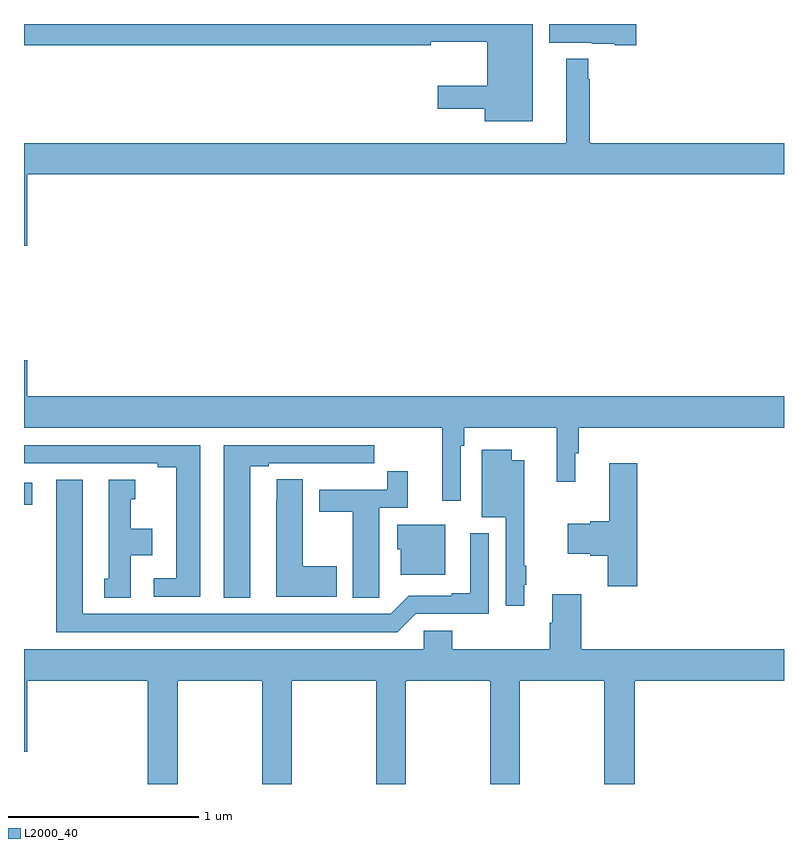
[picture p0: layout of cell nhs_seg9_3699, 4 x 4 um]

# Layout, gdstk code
import gdstk
lib = gdstk.Library(unit=1e-6, precision=1e-09)
def R(c, l, rs):  # rectangles x0, y0, x1, y1
    for r in rs: c.add(gdstk.rectangle(r[:2], r[2:], *l))
def P(c, l, *ps):  # polygons
    for p in ps: c.add(gdstk.Polygon(p, *l))
L2000_40 = (2000, 40)

nhs_seg9_3699 = lib.new_cell('nhs_seg9_3699')
R(nhs_seg9_3699, L2000_40, [(321,1239.97,321.043,1240.086)])
P(nhs_seg9_3699, L2000_40, [(324.223,1242.5),(323.765,1242.5),(323.765,1242.401),(323.988,1242.401),(323.988,1242.395),(324.11,1242.395),(324.11,1242.389),(324.223,1242.389)],
  [(323.677,1242.5),(321,1242.5),(321,1242.388),(323.142,1242.388),(323.142,1242.406),(323.438,1242.406),(323.438,1242.175),(323.178,1242.175),(323.178,1242.053),(323.426,1242.053),(323.426,1241.987),(323.677,1241.987)],
  [(321.016,1241.708),(325,1241.708),(325,1241.872),(323.977,1241.872),(323.977,1242.209),(323.969,1242.209),(323.969,1242.316),(323.855,1242.316),(323.855,1241.872),(321,1241.872),(321,1241.334),(321.016,1241.334)],
  [(323.298,1240.28),(323.318,1240.28),(323.318,1240.376),(323.803,1240.376),(323.803,1240.092),(323.902,1240.092),(323.902,1240.242),(323.921,1240.242),(323.921,1240.376),(325,1240.376),(325,1240.54),(321.016,1240.54),(321.016,1240.729),(321,1240.729),(321,1240.376),(323.201,1240.376),(323.201,1239.99),(323.298,1239.99)],
  [(321.928,1240.284),(321,1240.284),(321,1240.188),(321.704,1240.188),(321.704,1240.168),(321.8,1240.168),(321.8,1239.582),(321.684,1239.582),(321.684,1239.486),(321.928,1239.486)],
  [(322.192,1240.173),(322.288,1240.173),(322.288,1240.188),(322.564,1240.188),(322.564,1240.187),(322.73,1240.187),(322.73,1240.188),(322.843,1240.188),(322.843,1240.284),(322.052,1240.284),(322.052,1239.481),(322.192,1239.481)],
  [(323.632,1239.55),(323.644,1239.55),(323.644,1239.65),(323.634,1239.65),(323.634,1239.909),(323.632,1239.909),(323.632,1240.204),(323.566,1240.204),(323.566,1240.258),(323.408,1240.258),(323.408,1239.905),(323.535,1239.905),(323.535,1239.438),(323.632,1239.438)],
  [(324.227,1240.189),(324.08,1240.189),(324.08,1239.884),(323.979,1239.884),(323.979,1239.871),(323.862,1239.871),(323.862,1239.713),(323.979,1239.713),(323.979,1239.701),(324.073,1239.701),(324.073,1239.54),(324.227,1239.54)],
  [(322.869,1239.592),(322.87,1239.592),(322.87,1239.954),(323.021,1239.954),(323.021,1240.147),(322.912,1240.147),(322.912,1240.05),(322.553,1240.05),(322.553,1239.934),(322.73,1239.934),(322.73,1239.481),(322.869,1239.481)],
  [(322.645,1239.645),(322.468,1239.645),(322.468,1240.103),(322.329,1240.103),(322.329,1239.995),(322.328,1239.995),(322.328,1239.485),(322.645,1239.485)],
  [(323.061,1239.396),(323.445,1239.396),(323.445,1239.82),(323.348,1239.82),(323.348,1239.505),(323.252,1239.505),(323.252,1239.492),(323.025,1239.492),(322.929,1239.396),(321.31,1239.396),(321.31,1240.102),(321.17,1240.102),(321.17,1239.3),(322.965,1239.3)],
  [(321.562,1239.704),(321.676,1239.704),(321.676,1239.844),(321.562,1239.844),(321.562,1239.999),(321.586,1239.999),(321.586,1240.102),(321.446,1240.102),(321.446,1239.579),(321.422,1239.579),(321.422,1239.481),(321.562,1239.481)],
  [(323.218,1239.865),(322.964,1239.865),(322.964,1239.735),(322.982,1239.735),(322.982,1239.602),(323.218,1239.602)],
  [(321.81,1239.044),(322.255,1239.044),(322.255,1238.5),(322.41,1238.5),(322.41,1239.044),(322.855,1239.044),(322.855,1238.5),(323.01,1238.5),(323.01,1239.044),(323.455,1239.044),(323.455,1238.5),(323.61,1238.5),(323.61,1239.044),(324.055,1239.044),(324.055,1238.5),(324.215,1238.5),(324.215,1239.044),(325,1239.044),(325,1239.208),(323.933,1239.208),(323.933,1239.499),(323.78,1239.499),(323.78,1239.35),(323.768,1239.35),(323.768,1239.208),(323.255,1239.208),(323.255,1239.306),(323.103,1239.306),(323.103,1239.208),(321,1239.208),(321,1238.67),(321.016,1238.67),(321.016,1239.044),(321.65,1239.044),(321.65,1238.5),(321.81,1238.5)])

lib.write_gds('nhs_seg9_3699.gds')
